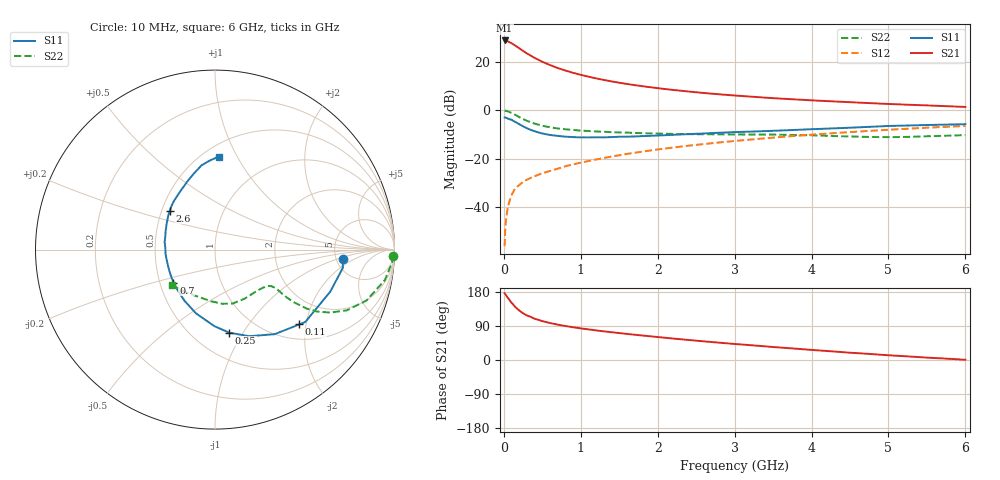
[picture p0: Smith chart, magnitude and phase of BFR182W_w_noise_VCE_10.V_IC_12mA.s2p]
! Infineon Technologies  Discrete & RF Semiconductors
! BFR182W
! VCE =  10. V,  IC =  12 mA
! Common Emitter S-Parameters:  Jan 2017
# GHz  S  MA  R  50
!  f  S11  S21  S12  S22
! GHz  MAG  ANG  MAG  ANG  MAG  ANG  MAG  ANG
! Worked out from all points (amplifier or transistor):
!   77 points, 10 MHz to 6 GHz, reference 50 ohm
!   highest |S21| = 29.1 dB at 10 MHz (marker M1)
!   |S21| within 3 dB of that: start of sweep to 188.5 MHz
!   unconditionally stable (mu >= 1): 1.034 GHz to 2.603 GHz
!   at 130 MHz: K = 0.31, MSG = 30.4 dB, |S12| = -33.4 dB
!   at 2.2 GHz: K = 1.02, MAG = 11.1 dB, |S12| = -15.4 dB
!   at 6 GHz: K = 0.86, MSG = 4.0 dB, |S12| = -6.4 dB
!   lowest NFmin = 1.14 dB at 450 MHz
!   S11 on the Smith chart (normalised r, x): 10 MHz: 5.74, -1.16; 110 MHz: 1.33, -1.83; 250 MHz: 0.73, -0.87; 700 MHz: 0.59, -0.24; 2.6 GHz: 0.55, +0.27; 6 GHz: 0.60, +0.85
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0.01  0.7135 -4.0  28.66 175.9  0.0015 93.7  0.9916 -1.9
0.02  0.7194 -8.2  28.62 173.3  0.0038 78.3  0.9892 -4.2
0.05  0.6834 -20.1  27.55 164.5  0.0092 81.3  0.9619 -10.1
0.1  0.6448 -38.7  25.19 151.0  0.0172 74.3  0.8912 -18.5
0.11  0.6276 -41.6  24.55 148.9  0.0186 72.6  0.8737 -19.7
0.15  0.5772 -54.7  22.38 139.6  0.0241 67.8  0.8077 -24.8
0.2  0.5184 -68.6  19.7 130.6  0.0281 65.5  0.7304 -28.7
0.25  0.4689 -80.4  17.39 123.2  0.0327 62.6  0.6641 -31.3
0.3  0.4265 -90.5  15.38 117.6  0.0363 62.0  0.6086 -32.7
0.4  0.3704 -106.7  12.42 108.9  0.0428 61.9  0.5318 -33.7
0.5  0.3325 -120.5  10.31 102.6  0.0493 61.8  0.4817 -33.7
0.6  0.3092 -131.6  8.817 97.6  0.0552 63.1  0.4471 -33.3
0.7  0.2957 -141.5  7.666 93.4  0.0615 64.7  0.4229 -32.8
0.9  0.2791 -157.2  6.074 86.4  0.0756 65.8  0.3931 -32.6
1.1  0.2753 -170.0  5.05 80.8  0.0887 66.8  0.3742 -33.0
1.5  0.2842 171.3  3.779 71.1  0.1169 67.1  0.3492 -36.1
2.1  0.3061 151.4  2.793 58.7  0.1618 65.5  0.328 -44.8
2.6  0.3324 139.1  2.311 49.2  0.2001 63.0  0.3201 -54.6
3.1  0.3586 128.1  1.997 40.8  0.2397 59.7  0.3166 -64.3
4.1  0.4134 111.2  1.597 25.2  0.3218 52.0  0.3007 -84.3
5.1  0.4802 97.7  1.347 11.3  0.4049 42.9  0.2796 -113.4
6  0.5188 87.6  1.186 0.7  0.4772 34.1  0.3089 -140.2
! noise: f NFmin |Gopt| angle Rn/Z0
0.45  1.14  0.05  71  0.15
0.9  1.22  0.06  102  0.15
1.9  1.71  0.21  -156  0.14
2.4  1.97  0.2  -143  0.21
